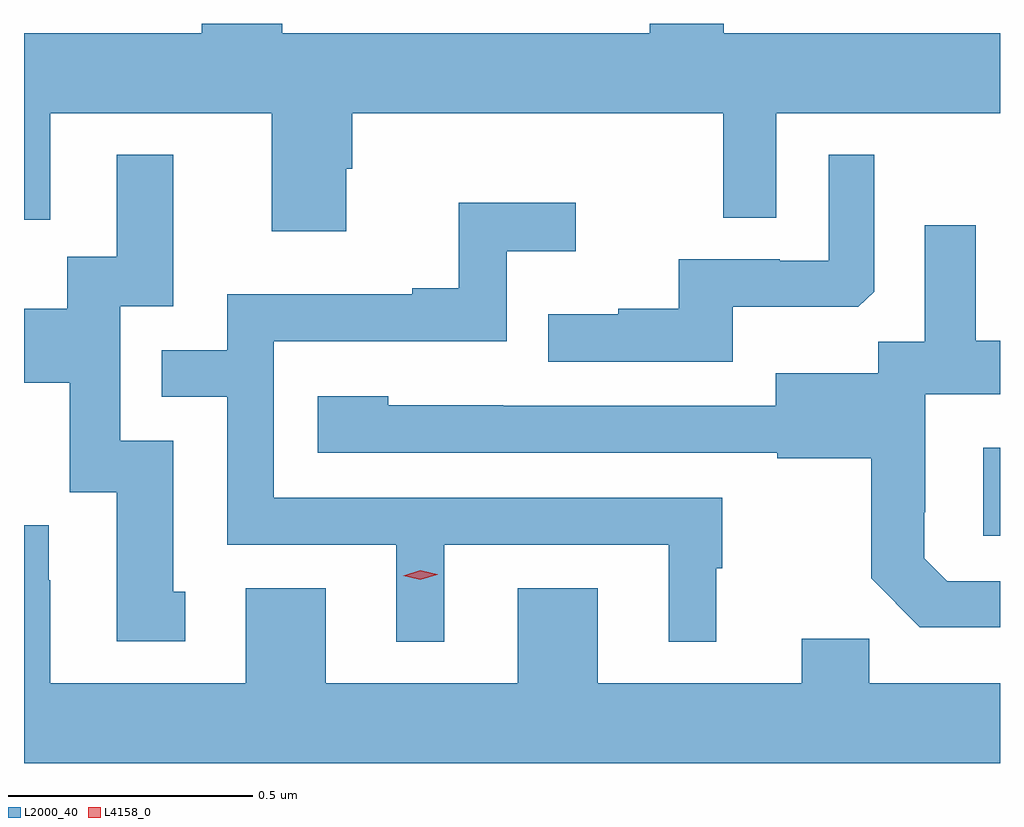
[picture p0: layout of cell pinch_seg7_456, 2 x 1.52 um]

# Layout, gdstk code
import gdstk
lib = gdstk.Library(unit=1e-6, precision=1e-09)
def R(c, l, rs):  # rectangles x0, y0, x1, y1
    for r in rs: c.add(gdstk.rectangle(r[:2], r[2:], *l))
def P(c, l, *ps):  # polygons
    for p in ps: c.add(gdstk.Polygon(p, *l))
L2000_40 = (2000, 40)
L4158_0 = (4158, 0)

pinch_seg7_456 = lib.new_cell('pinch_seg7_456')
R(pinch_seg7_456, L2000_40, [(275.207,1063.686,275.241,1063.867)])
P(pinch_seg7_456, L2000_40, [(273.901,1064.439),(273.914,1064.439),(273.914,1064.552),(274.674,1064.552),(274.674,1064.338),(274.782,1064.338),(274.782,1064.552),(275.241,1064.552),(275.241,1064.716),(274.675,1064.716),(274.675,1064.736),(274.523,1064.736),(274.523,1064.716),(273.77,1064.716),(273.77,1064.736),(273.605,1064.736),(273.605,1064.716),(273.241,1064.716),(273.241,1064.334),(273.295,1064.334),(273.295,1064.552),(273.749,1064.552),(273.749,1064.31),(273.901,1064.31)],
  [(273.571,1063.572),(273.547,1063.572),(273.547,1063.881),(273.438,1063.881),(273.438,1064.157),(273.547,1064.157),(273.547,1064.467),(273.431,1064.467),(273.431,1064.258),(273.33,1064.258),(273.33,1064.152),(273.241,1064.152),(273.241,1064),(273.335,1064),(273.335,1063.776),(273.431,1063.776),(273.431,1063.47),(273.571,1063.47)],
  [(274.693,1064.156),(274.951,1064.156),(274.983,1064.187),(274.983,1064.467),(274.89,1064.467),(274.89,1064.25),(274.79,1064.25),(274.79,1064.253),(274.583,1064.253),(274.583,1064.152),(274.459,1064.152),(274.459,1064.14),(274.315,1064.14),(274.315,1064.043),(274.693,1064.043)],
  [(274.102,1063.668),(274.562,1063.668),(274.562,1063.469),(274.66,1063.469),(274.66,1063.62),(274.672,1063.62),(274.672,1063.764),(273.753,1063.764),(273.753,1064.085),(274.23,1064.085),(274.23,1064.27),(274.372,1064.27),(274.372,1064.369),(274.132,1064.369),(274.132,1064.194),(274.037,1064.194),(274.037,1064.181),(273.657,1064.181),(273.657,1064.067),(273.523,1064.067),(273.523,1063.971),(273.657,1063.971),(273.657,1063.668),(274.004,1063.668),(274.004,1063.469),(274.102,1063.469)],
  [(275.241,1063.593),(275.133,1063.593),(275.086,1063.64),(275.086,1063.735),(275.088,1063.735),(275.088,1063.976),(275.241,1063.976),(275.241,1064.086),(275.191,1064.086),(275.191,1064.323),(275.087,1064.323),(275.087,1064.084),(274.992,1064.084),(274.992,1064.02),(274.781,1064.02),(274.781,1063.953),(274.223,1063.953),(274.223,1063.954),(273.987,1063.954),(273.987,1063.972),(273.843,1063.972),(273.843,1063.857),(274.785,1063.857),(274.785,1063.845),(274.977,1063.845),(274.977,1063.599),(275.077,1063.499),(275.241,1063.499)],
  [(275.241,1063.384),(274.973,1063.384),(274.973,1063.475),(274.835,1063.475),(274.835,1063.384),(274.417,1063.384),(274.417,1063.579),(274.253,1063.579),(274.253,1063.384),(273.859,1063.384),(273.859,1063.579),(273.695,1063.579),(273.695,1063.384),(273.295,1063.384),(273.295,1063.595),(273.292,1063.595),(273.292,1063.708),(273.241,1063.708),(273.241,1063.22),(275.241,1063.22)])
P(pinch_seg7_456, L4158_0, [(274.053,1063.596),(274.018,1063.605),(274.017,1063.605),(274.018,1063.605),(274.053,1063.616),(274.088,1063.608),(274.089,1063.608),(274.088,1063.607)])

lib.write_gds('pinch_seg7_456.gds')
